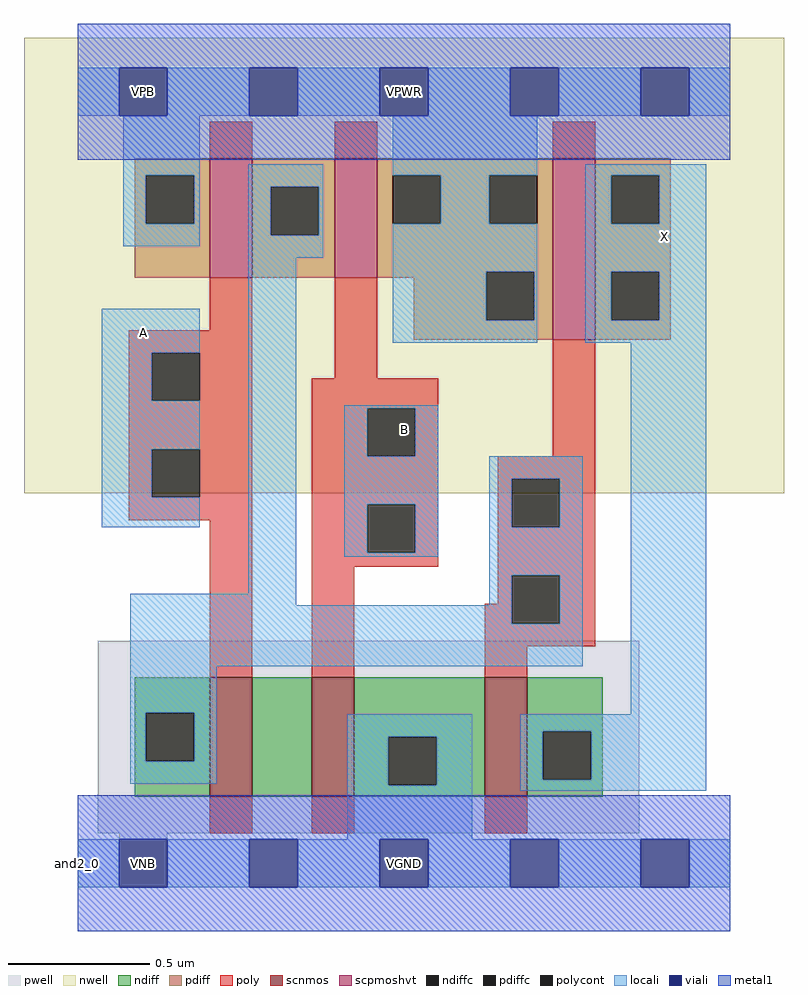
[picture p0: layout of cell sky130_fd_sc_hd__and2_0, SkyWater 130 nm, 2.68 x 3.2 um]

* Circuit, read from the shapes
.subckt sky130_fd_sc_hd__and2_0 A B VGND VNB VPB VPWR X
XM1 n1 A n2 VNB sky130_fd_pr__nfet_01v8 w=0.42 l=0.15
XM2 VGND B n1 VNB sky130_fd_pr__nfet_01v8 w=0.42 l=0.15
XM3 X n2 VGND VNB sky130_fd_pr__nfet_01v8 w=0.42 l=0.15
XM4 n2 A VPWR VPB sky130_fd_pr__pfet_01v8_hvt w=0.42 l=0.15
XM5 VPWR B n2 VPB sky130_fd_pr__pfet_01v8_hvt w=0.42 l=0.15
XM6 X n2 VPWR VPB sky130_fd_pr__pfet_01v8_hvt w=0.64 l=0.15
.ends

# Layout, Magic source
magic
tech sky130A
magscale 1 2
<< nwell >>
rect -38 261 498 582
<< pwell >>
rect 14 21 396 157
rect 29 -17 63 21
<< scnmos >>
rect 93 47 123 131
rect 165 47 195 131
rect 287 47 317 131
<< scpmoshvt >>
rect 93 413 123 497
rect 181 413 211 497
rect 335 369 365 497
<< ndiff >>
rect 40 106 93 131
rect 40 72 48 106
rect 82 72 93 106
rect 40 47 93 72
rect 123 47 165 131
rect 195 89 287 131
rect 195 55 219 89
rect 253 55 287 89
rect 195 47 287 55
rect 317 93 370 131
rect 317 59 328 93
rect 362 59 370 93
rect 317 47 370 59
<< pdiff >>
rect 40 485 93 497
rect 40 451 48 485
rect 82 451 93 485
rect 40 413 93 451
rect 123 477 181 497
rect 123 443 136 477
rect 170 443 181 477
rect 123 413 181 443
rect 211 485 335 497
rect 211 451 222 485
rect 256 451 290 485
rect 324 451 335 485
rect 211 417 335 451
rect 211 413 288 417
rect 237 383 288 413
rect 322 383 335 417
rect 237 369 335 383
rect 365 485 418 497
rect 365 451 376 485
rect 410 451 418 485
rect 365 417 418 451
rect 365 383 376 417
rect 410 383 418 417
rect 365 369 418 383
<< ndiffc >>
rect 48 72 82 106
rect 219 55 253 89
rect 328 59 362 93
<< pdiffc >>
rect 48 451 82 485
rect 136 443 170 477
rect 222 451 256 485
rect 290 451 324 485
rect 288 383 322 417
rect 376 451 410 485
rect 376 383 410 417
<< poly >>
rect 93 497 123 523
rect 181 497 211 523
rect 335 497 365 523
rect 93 376 123 413
rect 36 360 123 376
rect 36 326 52 360
rect 86 326 123 360
rect 181 342 211 413
rect 36 292 123 326
rect 36 258 52 292
rect 86 258 123 292
rect 36 242 123 258
rect 93 131 123 242
rect 165 321 254 342
rect 165 287 204 321
rect 238 287 254 321
rect 335 287 365 369
rect 165 253 254 287
rect 165 219 204 253
rect 238 219 254 253
rect 165 209 254 219
rect 296 271 365 287
rect 296 237 306 271
rect 340 237 365 271
rect 165 131 195 209
rect 296 203 365 237
rect 296 183 306 203
rect 287 169 306 183
rect 340 169 365 203
rect 287 153 365 169
rect 287 131 317 153
rect 93 21 123 47
rect 165 21 195 47
rect 287 21 317 47
<< polycont >>
rect 52 326 86 360
rect 52 258 86 292
rect 204 287 238 321
rect 204 219 238 253
rect 306 237 340 271
rect 306 169 340 203
<< locali >>
rect 0 527 29 561
rect 63 527 121 561
rect 155 527 213 561
rect 247 527 305 561
rect 339 527 397 561
rect 431 527 460 561
rect 32 485 86 527
rect 32 451 48 485
rect 82 451 86 485
rect 32 435 86 451
rect 120 477 173 493
rect 120 443 136 477
rect 170 443 173 477
rect 120 427 173 443
rect 222 485 324 527
rect 256 451 290 485
rect 17 360 86 391
rect 17 326 52 360
rect 17 292 86 326
rect 17 258 52 292
rect 17 237 86 258
rect 120 190 154 427
rect 222 417 324 451
rect 222 383 288 417
rect 322 383 324 417
rect 222 367 324 383
rect 358 485 443 493
rect 358 451 376 485
rect 410 451 443 485
rect 358 417 443 451
rect 358 383 376 417
rect 410 383 443 417
rect 358 367 443 383
rect 188 321 254 323
rect 188 287 204 321
rect 238 287 254 321
rect 188 253 254 287
rect 188 219 204 253
rect 238 219 254 253
rect 188 216 254 219
rect 290 271 356 287
rect 290 237 306 271
rect 340 237 356 271
rect 37 182 154 190
rect 290 203 356 237
rect 290 182 306 203
rect 37 169 306 182
rect 340 169 356 203
rect 37 139 356 169
rect 37 106 98 139
rect 37 72 48 106
rect 82 72 98 106
rect 390 105 443 367
rect 37 56 98 72
rect 190 89 278 105
rect 190 55 219 89
rect 253 55 278 89
rect 190 17 278 55
rect 312 93 443 105
rect 312 59 328 93
rect 362 59 443 93
rect 312 51 443 59
rect 0 -17 29 17
rect 63 -17 121 17
rect 155 -17 213 17
rect 247 -17 305 17
rect 339 -17 397 17
rect 431 -17 460 17
<< viali >>
rect 29 527 63 561
rect 121 527 155 561
rect 213 527 247 561
rect 305 527 339 561
rect 397 527 431 561
rect 29 -17 63 17
rect 121 -17 155 17
rect 213 -17 247 17
rect 305 -17 339 17
rect 397 -17 431 17
<< metal1 >>
rect 0 561 460 592
rect 0 527 29 561
rect 63 527 121 561
rect 155 527 213 561
rect 247 527 305 561
rect 339 527 397 561
rect 431 527 460 561
rect 0 496 460 527
rect 0 17 460 48
rect 0 -17 29 17
rect 63 -17 121 17
rect 155 -17 213 17
rect 247 -17 305 17
rect 339 -17 397 17
rect 431 -17 460 17
rect 0 -48 460 -17
<< labels >>
flabel pwell s 29 -17 63 17 0 FreeSans 200 0 0 0 VNB
port 4 nsew ground bidirectional
flabel nwell s 29 527 63 561 0 FreeSans 200 0 0 0 VPB
port 5 nsew power bidirectional
flabel metal1 s 29 527 63 561 0 FreeSans 200 0 0 0 VPWR
port 6 nsew power bidirectional abutment
flabel metal1 s 29 -17 63 17 0 FreeSans 200 0 0 0 VGND
port 3 nsew ground bidirectional abutment
flabel locali s 397 425 431 459 0 FreeSans 340 0 0 0 X
port 7 nsew signal output
flabel locali s 213 289 247 323 0 FreeSans 340 0 0 0 B
port 2 nsew signal input
flabel locali s 29 357 63 391 0 FreeSans 340 0 0 0 A
port 1 nsew signal input
rlabel comment s 0 0 0 0 4 and2_0
rlabel metal1 s 0 -48 460 48 1 VGND
port 3 nsew ground bidirectional abutment
rlabel metal1 s 0 496 460 592 1 VPWR
port 6 nsew power bidirectional abutment
<< properties >>
string FIXED_BBOX 0 0 460 544
string GDS_END 3805962
string GDS_FILE $PDKPATH/libs.ref/sky130_fd_sc_hd/gds/sky130_fd_sc_hd.gds
string GDS_START 3801524
string LEFclass CORE
string LEFsite unithd
string LEFsymmetry X Y R90
string path 0.000 0.000 11.500 0.000 
<< end >>
